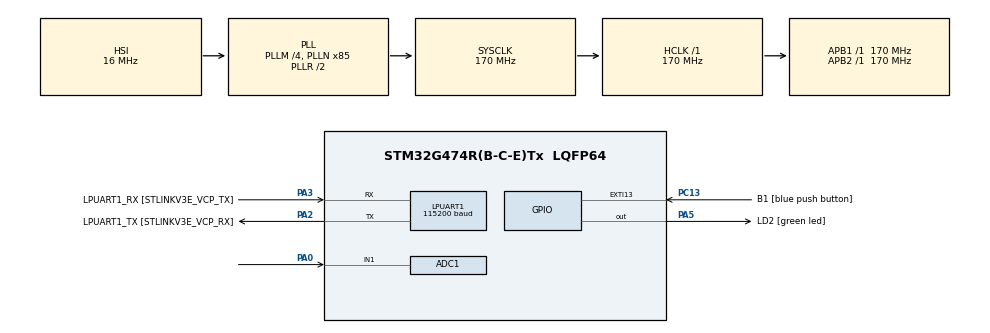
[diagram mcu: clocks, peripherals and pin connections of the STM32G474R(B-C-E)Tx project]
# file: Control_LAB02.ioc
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ADC1.Channel-0\#ChannelRegularConversion=ADC_CHANNEL_1
ADC1.ContinuousConvMode=ENABLE
ADC1.DMAContinuousRequests=ENABLE
ADC1.NbrOfConversion=1
ADC1.NbrOfConversionFlag=1
ADC1.OffsetNumber-0\#ChannelRegularConversion=ADC_OFFSET_NONE
ADC1.Rank-0\#ChannelRegularConversion=1
ADC1.SamplingTime-0\#ChannelRegularConversion=ADC_SAMPLETIME_640CYCLES_5
ADC1.master=1
Dma.ADC1.0.Direction=DMA_PERIPH_TO_MEMORY
Dma.ADC1.0.EventEnable=DISABLE
Dma.ADC1.0.Instance=DMA1_Channel1
Dma.ADC1.0.MemDataAlignment=DMA_MDATAALIGN_HALFWORD
Dma.ADC1.0.MemInc=DMA_MINC_ENABLE
Dma.ADC1.0.Mode=DMA_CIRCULAR
Dma.ADC1.0.PeriphDataAlignment=DMA_PDATAALIGN_HALFWORD
Dma.ADC1.0.PeriphInc=DMA_PINC_DISABLE
Dma.ADC1.0.Polarity=HAL_DMAMUX_REQ_GEN_RISING
Dma.ADC1.0.Priority=DMA_PRIORITY_LOW
Dma.ADC1.0.RequestNumber=1
Dma.ADC1.0.SignalID=NONE
Dma.ADC1.0.SyncEnable=DISABLE
Dma.ADC1.0.SyncPolarity=HAL_DMAMUX_SYNC_NO_EVENT
Dma.ADC1.0.SyncRequestNumber=1
Dma.ADC1.0.SyncSignalID=NONE
Dma.Request0=ADC1
LPUART1.BaudRate=115200
LPUART1.WordLength=UART_WORDLENGTH_8B
Mcu.Family=STM32G4
Mcu.Name=STM32G474R(B-C-E)Tx
Mcu.Package=LQFP64
NVIC.ADC1_2_IRQn=true\:0\:0\:false\:false\:true\:true\:true\:true
NVIC.DMA1_Channel1_IRQn=true\:0\:0\:false\:false\:true\:false\:true\:true
NVIC.EXTI15_10_IRQn=true\:0\:0\:false\:false\:true\:true\:true\:true
NVIC.PriorityGroup=NVIC_PRIORITYGROUP_4
PA0.Mode=IN1-Single-Ended
PA0.Signal=ADC1_IN1
PA13.GPIO_Label=T_SWDIO
PA13.Mode=Serial_Wire
PA13.Signal=SYS_JTMS-SWDIO
PA14.GPIO_Label=T_SWCLK
PA14.Mode=Serial_Wire
PA14.Signal=SYS_JTCK-SWCLK
PA2.GPIO_Label=LPUART1_TX [STLINKV3E_VCP_RX]
PA2.Mode=Asynchronous
PA2.Signal=LPUART1_TX
PA3.GPIO_Label=LPUART1_RX [STLINKV3E_VCP_TX]
PA3.Mode=Asynchronous
PA3.Signal=LPUART1_RX
PA5.GPIO_Label=LD2 [green led]
PA5.Signal=GPIO_Output
PB3.GPIO_Label=T_SWO
PB3.Signal=SYS_JTDO-SWO
PC13.GPIO_Label=B1 [blue push button]
PC13.Signal=GPXTI13
PC14-OSC32_IN.Mode=LSE-External-Oscillator
PC14-OSC32_IN.Signal=RCC_OSC32_IN
PC15-OSC32_OUT.Mode=LSE-External-Oscillator
PC15-OSC32_OUT.Signal=RCC_OSC32_OUT
PF0-OSC_IN.Mode=HSE-External-Oscillator
PF0-OSC_IN.Signal=RCC_OSC_IN
PF1-OSC_OUT.Mode=HSE-External-Oscillator
PF1-OSC_OUT.Signal=RCC_OSC_OUT
ProjectManager.HeapSize=0x200
ProjectManager.StackSize=0x400
ProjectManager.TargetToolchain=STM32CubeIDE
RCC.ADC12Freq_Value=170000000
RCC.ADC345Freq_Value=170000000
RCC.AHBFreq_Value=170000000
RCC.APB1Freq_Value=170000000
RCC.APB1TimFreq_Value=170000000
RCC.APB2Freq_Value=170000000
RCC.APB2TimFreq_Value=170000000
RCC.CortexFreq_Value=170000000
RCC.EXTERNAL_CLOCK_VALUE=12288000
RCC.HCLKFreq_Value=170000000
RCC.HSE_VALUE=24000000
RCC.HSI48_VALUE=48000000
RCC.HSI_VALUE=16000000
RCC.PLLM=RCC_PLLM_DIV4
RCC.PLLN=85
RCC.RTCClockSelection=RCC_RTCCLKSOURCE_LSE
RCC.SYSCLKFreq_VALUE=170000000
RCC.SYSCLKSource=RCC_SYSCLKSOURCE_PLLCLK
RCC.USBFreq_Value=170000000
RCC.VCOOutputFreq_Value=340000000
TIM2.Prescaler=169
VP_SYS_VS_DBSignals.Mode=DisableDeadBatterySignals
VP_TIM2_VS_ClockSourceINT.Mode=Internal
board=NUCLEO-G474RE

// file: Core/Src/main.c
/* USER CODE BEGIN Header */
/**
 ******************************************************************************
 * @file           : main.c
 * @brief          : Main program body
 ******************************************************************************
 * @attention
 *
 * Copyright (c) 2024 STMicroelectronics.
 * All rights reserved.
 *
 * This software is licensed under terms that can be found in the LICENSE file
 * in the root directory of this software component.
 * If no LICENSE file comes with this software, it is provided AS-IS.
 *
 ******************************************************************************
 */
/* USER CODE END Header */
#include "main.h"

/* USER CODE BEGIN PD */
#define SAMPLE 10
/* USER CODE END PD */

ADC_HandleTypeDef hadc1;
DMA_HandleTypeDef hdma_adc1;

UART_HandleTypeDef hlpuart1;

TIM_HandleTypeDef htim2;

/* USER CODE BEGIN PV */
float ADC_AVG = 0;
float ADCScale = 0;
float ADCVoltage = 0;
uint16_t ADC_Read[SAMPLE] = { 0 };

/*---------------------------------------*/
float omega = 0;
float omega_1 = 0;
float omega_2 = 0;
float T = 0.001;
float R = 0;
float L = 0;
float B = 0;
float J = 0;
float Kt = 0;
float Ke = 0;

/*---------------------------------------*/

/* USER CODE END PV */

void SystemClock_Config(void);
static void MX_GPIO_Init(void);
static void MX_DMA_Init(void);
static void MX_LPUART1_UART_Init(void);
static void MX_ADC1_Init(void);
static void MX_TIM2_Init(void);
/* USER CODE BEGIN PFP */
void calAVG();
void scaleValue();
void HIL();
/* USER CODE END PFP */

int main(void) {

	/* MCU Configuration--------------------------------------------------------*/

	/* Reset of all peripherals, Initializes the Flash interface and the Systick. */
	HAL_Init();

	/* Configure the system clock */
	SystemClock_Config();

	/* Initialize all configured peripherals */
	MX_GPIO_Init();
	MX_DMA_Init();
	MX_LPUART1_UART_Init();
	MX_ADC1_Init();
	MX_TIM2_Init();
	/* USER CODE BEGIN 2 */
	HAL_ADCEx_Calibration_Start(&hadc1, ADC_SINGLE_ENDED);
	HAL_ADC_Start_DMA(&hadc1, ADC_Read, SAMPLE);
	HAL_TIM_Base_Start(&htim2);
	omega = 0;
	omega_1 = 0;
	omega_2 = 0;
	T = 0.001;
	R = 20.8967;
	L = 0.0141;
	B = 6.7661/1000000;
	J = 2.9386/1000000000;
	Kt = 0;
	Ke = 0.0989;

	/* USER CODE END 2 */

	/* Infinite loop */
	while (1) {

		/* USER CODE BEGIN 3 */
		calAVG();
		scaleValue();
//		HIL();
	}
	/* USER CODE END 3 */
}

void SystemClock_Config(void) {
	RCC_OscInitTypeDef RCC_OscInitStruct = { 0 };
	RCC_ClkInitTypeDef RCC_ClkInitStruct = { 0 };

	/** Configure the main internal regulator output voltage
	 */
	HAL_PWREx_ControlVoltageScaling(PWR_REGULATOR_VOLTAGE_SCALE1_BOOST);

	/** Initializes the RCC Oscillators according to the specified parameters
	 * in the RCC_OscInitTypeDef structure.
	 */
	RCC_OscInitStruct.OscillatorType = RCC_OSCILLATORTYPE_HSI;
	RCC_OscInitStruct.HSIState = RCC_HSI_ON;
	RCC_OscInitStruct.HSICalibrationValue = RCC_HSICALIBRATION_DEFAULT;
	RCC_OscInitStruct.PLL.PLLState = RCC_PLL_ON;
	RCC_OscInitStruct.PLL.PLLSource = RCC_PLLSOURCE_HSI;
	RCC_OscInitStruct.PLL.PLLM = RCC_PLLM_DIV4;
	RCC_OscInitStruct.PLL.PLLN = 85;
	RCC_OscInitStruct.PLL.PLLP = RCC_PLLP_DIV2;
	RCC_OscInitStruct.PLL.PLLQ = RCC_PLLQ_DIV2;
	RCC_OscInitStruct.PLL.PLLR = RCC_PLLR_DIV2;
	if (HAL_RCC_OscConfig(&RCC_OscInitStruct) != HAL_OK) {
		Error_Handler();
	}

	/** Initializes the CPU, AHB and APB buses clocks
	 */
	RCC_ClkInitStruct.ClockType = RCC_CLOCKTYPE_HCLK | RCC_CLOCKTYPE_SYSCLK
			| RCC_CLOCKTYPE_PCLK1 | RCC_CLOCKTYPE_PCLK2;
	RCC_ClkInitStruct.SYSCLKSource = RCC_SYSCLKSOURCE_PLLCLK;
	RCC_ClkInitStruct.AHBCLKDivider = RCC_SYSCLK_DIV1;
	RCC_ClkInitStruct.APB1CLKDivider = RCC_HCLK_DIV1;
	RCC_ClkInitStruct.APB2CLKDivider = RCC_HCLK_DIV1;

	if (HAL_RCC_ClockConfig(&RCC_ClkInitStruct, FLASH_LATENCY_4) != HAL_OK) {
		Error_Handler();
	}
}

static void MX_ADC1_Init(void) {

	ADC_MultiModeTypeDef multimode = { 0 };
	ADC_ChannelConfTypeDef sConfig = { 0 };

	/** Common config
	 */
	hadc1.Instance = ADC1;
	hadc1.Init.ClockPrescaler = ADC_CLOCK_SYNC_PCLK_DIV4;
	hadc1.Init.Resolution = ADC_RESOLUTION_12B;
	hadc1.Init.DataAlign = ADC_DATAALIGN_RIGHT;
	hadc1.Init.GainCompensation = 0;
	hadc1.Init.ScanConvMode = ADC_SCAN_DISABLE;
	hadc1.Init.EOCSelection = ADC_EOC_SINGLE_CONV;
	hadc1.Init.LowPowerAutoWait = DISABLE;
	hadc1.Init.ContinuousConvMode = ENABLE;
	hadc1.Init.NbrOfConversion = 1;
	hadc1.Init.DiscontinuousConvMode = DISABLE;
	hadc1.Init.ExternalTrigConv = ADC_SOFTWARE_START;
	hadc1.Init.ExternalTrigConvEdge = ADC_EXTERNALTRIGCONVEDGE_NONE;
	hadc1.Init.DMAContinuousRequests = ENABLE;
	hadc1.Init.Overrun = ADC_OVR_DATA_PRESERVED;
	hadc1.Init.OversamplingMode = DISABLE;
	if (HAL_ADC_Init(&hadc1) != HAL_OK) {
		Error_Handler();
	}

	/** Configure the ADC multi-mode
	 */
	multimode.Mode = ADC_MODE_INDEPENDENT;
	if (HAL_ADCEx_MultiModeConfigChannel(&hadc1, &multimode) != HAL_OK) {
		Error_Handler();
	}

	/** Configure Regular Channel
	 */
	sConfig.Channel = ADC_CHANNEL_1;
	sConfig.Rank = ADC_REGULAR_RANK_1;
	sConfig.SamplingTime = ADC_SAMPLETIME_640CYCLES_5;
	sConfig.SingleDiff = ADC_SINGLE_ENDED;
	sConfig.OffsetNumber = ADC_OFFSET_NONE;
	sConfig.Offset = 0;
	if (HAL_ADC_ConfigChannel(&hadc1, &sConfig) != HAL_OK) {
		Error_Handler();
	}

}

static void MX_LPUART1_UART_Init(void) {

	hlpuart1.Instance = LPUART1;
	hlpuart1.Init.BaudRate = 115200;
	hlpuart1.Init.WordLength = UART_WORDLENGTH_8B;
	hlpuart1.Init.StopBits = UART_STOPBITS_1;
	hlpuart1.Init.Parity = UART_PARITY_NONE;
	hlpuart1.Init.Mode = UART_MODE_TX_RX;
	hlpuart1.Init.HwFlowCtl = UART_HWCONTROL_NONE;
	hlpuart1.Init.OneBitSampling = UART_ONE_BIT_SAMPLE_DISABLE;
	hlpuart1.Init.ClockPrescaler = UART_PRESCALER_DIV1;
	hlpuart1.AdvancedInit.AdvFeatureInit = UART_ADVFEATURE_NO_INIT;
	if (HAL_UART_Init(&hlpuart1) != HAL_OK) {
		Error_Handler();
	}
	if (HAL_UARTEx_SetTxFifoThreshold(&hlpuart1, UART_TXFIFO_THRESHOLD_1_8)
			!= HAL_OK) {
		Error_Handler();
	}
	if (HAL_UARTEx_SetRxFifoThreshold(&hlpuart1, UART_RXFIFO_THRESHOLD_1_8)
			!= HAL_OK) {
		Error_Handler();
	}
	if (HAL_UARTEx_DisableFifoMode(&hlpuart1) != HAL_OK) {
		Error_Handler();
	}

}

static void MX_TIM2_Init(void) {

	TIM_ClockConfigTypeDef sClockSourceConfig = { 0 };
	TIM_MasterConfigTypeDef sMasterConfig = { 0 };

	htim2.Instance = TIM2;
	htim2.Init.Prescaler = 169;
	htim2.Init.CounterMode = TIM_COUNTERMODE_UP;
	htim2.Init.Period = 4.294967295E9;
	htim2.Init.ClockDivision = TIM_CLOCKDIVISION_DIV1;
	htim2.Init.AutoReloadPreload = TIM_AUTORELOAD_PRELOAD_DISABLE;
	if (HAL_TIM_Base_Init(&htim2) != HAL_OK) {
		Error_Handler();
	}
	sClockSourceConfig.ClockSource = TIM_CLOCKSOURCE_INTERNAL;
	if (HAL_TIM_ConfigClockSource(&htim2, &sClockSourceConfig) != HAL_OK) {
		Error_Handler();
	}
	sMasterConfig.MasterOutputTrigger = TIM_TRGO_RESET;
	sMasterConfig.MasterSlaveMode = TIM_MASTERSLAVEMODE_DISABLE;
	if (HAL_TIMEx_MasterConfigSynchronization(&htim2, &sMasterConfig)
			!= HAL_OK) {
		Error_Handler();
	}

}

static void MX_DMA_Init(void) {

	/* DMA controller clock enable */
	__HAL_RCC_DMAMUX1_CLK_ENABLE();
	__HAL_RCC_DMA1_CLK_ENABLE();

	/* DMA interrupt init */
	/* DMA1_Channel1_IRQn interrupt configuration */
	HAL_NVIC_SetPriority(DMA1_Channel1_IRQn, 0, 0);
	HAL_NVIC_EnableIRQ(DMA1_Channel1_IRQn);

}

static void MX_GPIO_Init(void) {
	GPIO_InitTypeDef GPIO_InitStruct = { 0 };

	/* GPIO Ports Clock Enable */
	__HAL_RCC_GPIOC_CLK_ENABLE();
	__HAL_RCC_GPIOF_CLK_ENABLE();
	__HAL_RCC_GPIOA_CLK_ENABLE();
	__HAL_RCC_GPIOB_CLK_ENABLE();

	/*Configure GPIO pin Output Level */
	HAL_GPIO_WritePin(LD2_GPIO_Port, LD2_Pin, GPIO_PIN_RESET);

	/*Configure GPIO pin : B1_Pin */
	GPIO_InitStruct.Pin = B1_Pin;
	GPIO_InitStruct.Mode = GPIO_MODE_IT_RISING;
	GPIO_InitStruct.Pull = GPIO_NOPULL;
	HAL_GPIO_Init(B1_GPIO_Port, &GPIO_InitStruct);

	/*Configure GPIO pin : LD2_Pin */
	GPIO_InitStruct.Pin = LD2_Pin;
	GPIO_InitStruct.Mode = GPIO_MODE_OUTPUT_PP;
	GPIO_InitStruct.Pull = GPIO_NOPULL;
	GPIO_InitStruct.Speed = GPIO_SPEED_FREQ_LOW;
	HAL_GPIO_Init(LD2_GPIO_Port, &GPIO_InitStruct);

	/* EXTI interrupt init*/
	HAL_NVIC_SetPriority(EXTI15_10_IRQn, 0, 0);
	HAL_NVIC_EnableIRQ(EXTI15_10_IRQn);

}

/* USER CODE BEGIN 4 */
void calAVG() {
	float temp = 0;
	for (int i = 0; i < SAMPLE; i++) {
		temp += ADC_Read[i];
	}
	ADC_AVG = temp / SAMPLE;
}

void scaleValue() {
	ADCScale = (ADC_AVG / 3) * 3.3;
	if (ADCScale >= 4095)
		ADCScale = 4095;
	else if (ADCScale <= 0)
		ADCScale = 0;
	ADCVoltage = (ADCScale / 4096.0) * 3.3;
}

void HIL() {
	static uint32_t timestamp = 0;
	uint32_t num = (Kt * T * T * ADCVoltage) - (J * L * omega_2) + (((2 * R * J * T) + (2 * B * L * T)) * omega_1);
	uint32_t den = (R * B * T * T) + (Kt * Ke * T * T) + (J * L) + (R * J * T) + (B * L * T);
	if (timestamp <= __HAL_TIM_GET_COUNTER(&htim2)) {
		timestamp = __HAL_TIM_GET_COUNTER(&htim2) + 1000;
		omega = num / den;
		omega_2 = omega_1;
		omega_1 = omega;
	}
}
/* USER CODE END 4 */

void Error_Handler(void) {
__disable_irq();
while (1) {
}
}
